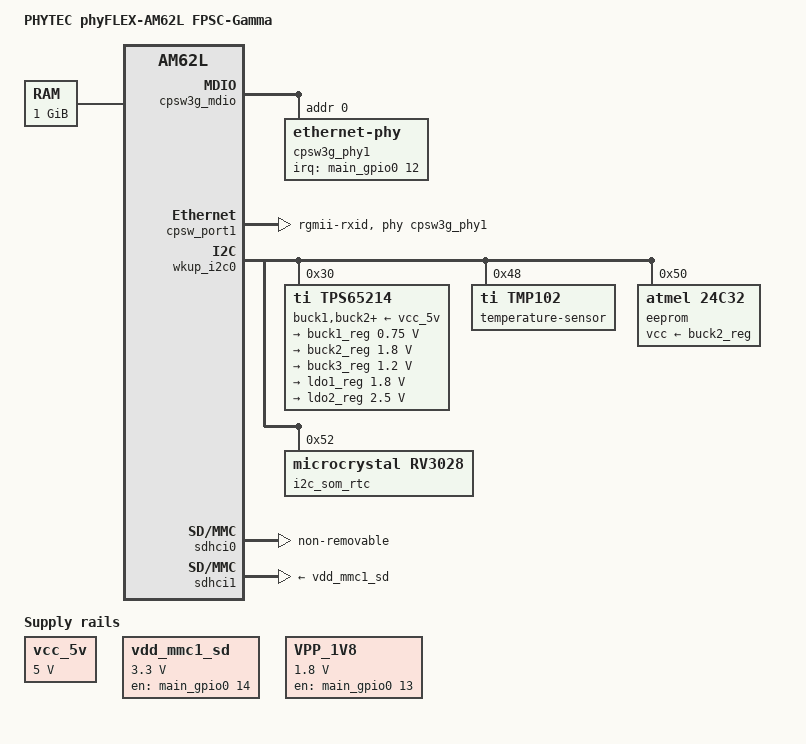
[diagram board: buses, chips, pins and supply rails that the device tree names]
// SPDX-License-Identifier: GPL-2.0-only OR MIT
/*
 * Copyright (C) 2025 PHYTEC Messtechnik GmbH
 * Author: Dominik Haller <d.haller@phytec.de>
 *
 * Product homepage:
 * https://www.phytec.eu/en/produkte/system-on-modules/phyflex-am62lx-fpsc/
 */

#include <dt-bindings/gpio/gpio.h>
#include <dt-bindings/net/ti-dp83867.h>

/ {
	model = "PHYTEC phyFLEX-AM62L FPSC-Gamma";
	compatible = "phytec,am62l-phyflex-fpsc-g", "ti,am62l3";

	aliases {
		ethernet0 = &cpsw_port1;
		i2c1 = &wkup_i2c0;
		mmc0 = &sdhci0;
		rtc0 = &i2c_som_rtc;
	};

	memory@80000000 {
		device_type = "memory";
		reg = <0x00000000 0x80000000 0x00000000 0x40000000>;
		bootph-all;
	};

	vcc_5v: regulator-vcc-5v {
		compatible = "regulator-fixed";
		regulator-name = "VCC_5V";
		regulator-min-microvolt = <5000000>;
		regulator-max-microvolt = <5000000>;
		regulator-always-on;
		regulator-boot-on;
	};

	vdd_mmc1_sd: regulator-vdd-mmc1-sd {
		/* Output of TPS22916 */
		compatible = "regulator-fixed";
		regulator-name = "VDD_MMC1_SD";
		pinctrl-names = "default";
		pinctrl-0 = <&vdd_mmc1_sd_pins_default>;
		enable-active-high;
		gpio = <&main_gpio0 14 GPIO_ACTIVE_HIGH>;
		regulator-min-microvolt = <3300000>;
		regulator-max-microvolt = <3300000>;
		regulator-boot-on;
		startup-delay-us = <100>;
		off-on-delay-us = <20000>;
		bootph-all;
	};

	regulator-vpp-1v8 {
		compatible = "regulator-fixed";
		regulator-name = "VPP_1V8";
		pinctrl-names = "default";
		pinctrl-0 = <&vpp_1v8_pins_default>;
		gpio = <&main_gpio0 13 GPIO_ACTIVE_HIGH>;
		enable-active-high;
		regulator-min-microvolt = <1800000>;
		regulator-max-microvolt = <1800000>;
	};
};

&pmx0 {
	main_mmc0_pins_default: main-mmc0-default-pins {
		pinctrl-single,pins = <
			AM62LX_IOPAD(0x0214, PIN_INPUT, 0) /* (D2) MMC0_CMD */
			AM62LX_IOPAD(0x020c, PIN_OUTPUT, 0) /* (B2) MMC0_CLK */
			AM62LX_IOPAD(0x0208, PIN_INPUT, 0) /* (D3) MMC0_DAT0 */
			AM62LX_IOPAD(0x0204, PIN_INPUT_PULLUP, 0) /* (D4) MMC0_DAT1 */
			AM62LX_IOPAD(0x0200, PIN_INPUT_PULLUP, 0) /* (C1) MMC0_DAT2 */
			AM62LX_IOPAD(0x01fc, PIN_INPUT_PULLUP, 0) /* (C2) MMC0_DAT3 */
			AM62LX_IOPAD(0x01f8, PIN_INPUT_PULLUP, 0) /* (C4) MMC0_DAT4 */
			AM62LX_IOPAD(0x01f4, PIN_INPUT_PULLUP, 0) /* (B3) MMC0_DAT5 */
			AM62LX_IOPAD(0x01f0, PIN_INPUT_PULLUP, 0) /* (A3) MMC0_DAT6 */
			AM62LX_IOPAD(0x01ec, PIN_INPUT_PULLUP, 0) /* (B4) MMC0_DAT7 */
		>;
		bootph-all;
	};

	main_sn65dsi83_pins_default: main-sn65dsi83-default-pins {
		pinctrl-single,pins = <
			AM62LX_IOPAD(0x0040, PIN_OUTPUT, 7) /* (E18) OSPI0_LBCLKO.GPIO0_1 */
		>;
	};

	mdio_pins_default: mdio1-default-pins {
		pinctrl-single,pins = <
			AM62LX_IOPAD(0x014c, PIN_OUTPUT, 0) /* (AC15) MDIO0_MDC */
			AM62LX_IOPAD(0x0148, PIN_INPUT, 0) /* (AC13) MDIO0_MDIO */
		>;
	};

	pmic_irq_pins_default: pmic-irq-default-pins {
		pinctrl-single,pins = <
			AM62LX_IOPAD(0x01e8, PIN_INPUT, 0) /* (C8) EXTINTn */
		>;
	};

	rgmii1_pins_default: rgmii1-default-pins {
		pinctrl-single,pins = <
			AM62LX_IOPAD(0x0138, PIN_INPUT, 0) /* (Y8) RGMII1_RD0 */
			AM62LX_IOPAD(0x013c, PIN_INPUT, 0) /* (AA6) RGMII1_RD1 */
			AM62LX_IOPAD(0x0140, PIN_INPUT, 0) /* (AA8) RGMII1_RD2 */
			AM62LX_IOPAD(0x0144, PIN_INPUT, 0) /* (W8) RGMII1_RD3 */
			AM62LX_IOPAD(0x0134, PIN_INPUT, 0) /* (Y7) RGMII1_RXC */
			AM62LX_IOPAD(0x0130, PIN_INPUT, 0) /* (Y6) RGMII1_RX_CTL */
			AM62LX_IOPAD(0x0120, PIN_OUTPUT, 0) /* (AC10) RGMII1_TD0 */
			AM62LX_IOPAD(0x0124, PIN_OUTPUT, 0) /* (W13) RGMII1_TD1 */
			AM62LX_IOPAD(0x0128, PIN_OUTPUT, 0) /* (Y11) RGMII1_TD2 */
			AM62LX_IOPAD(0x012c, PIN_OUTPUT, 0) /* (AA11) RGMII1_TD3 */
			AM62LX_IOPAD(0x011c, PIN_OUTPUT, 0) /* (W11) RGMII1_TXC */
			AM62LX_IOPAD(0x0118, PIN_OUTPUT, 0) /* (AB11) RGMII1_TX_CTL */
			AM62LX_IOPAD(0x006c, PIN_INPUT, 7) /* (D20) OSPI0_CSn1.GPIO0_12 */
		>;
	};

	vdd_mmc1_sd_pins_default: vdd-mmc1-default-pins {
		pinctrl-single,pins = <
			AM62LX_IOPAD(0x0074, PIN_OUTPUT, 7) /* (C23) OSPI0_CSn3.GPIO0_14 */
		>;
		bootph-all;
	};

	vpp_1v8_pins_default: vpp-1v8-pins-default {
		pinctrl-single,pins = <
			AM62LX_IOPAD(0x0070, PIN_OUTPUT, 7) /* (D18) OSPI0_CSN2.GPIO0_13 */
		>;
	};

	wkup_i2c0_pins_default: wkup-i2c0-default-pins {
		pinctrl-single,pins = <
			AM62LX_IOPAD(0x0010, PIN_INPUT, 0) /* (AB22) WKUP_I2C0_SCL */
			AM62LX_IOPAD(0x0014, PIN_INPUT, 0) /* (AA22) WKUP_I2C0_SDA */
		>;
		bootph-all;
	};
};

&cpsw3g {
	pinctrl-names = "default";
	pinctrl-0 = <&rgmii1_pins_default>;
};

&cpsw3g_mdio {
	pinctrl-names = "default";
	pinctrl-0 = <&mdio_pins_default>;
	status = "okay";

	cpsw3g_phy1: ethernet-phy@0 {
		reg = <0>;
		ti,clk-output-sel = <DP83867_CLK_O_SEL_OFF>;
		ti,fifo-depth = <DP83867_PHYCR_FIFO_DEPTH_4_B_NIB>;
		ti,rx-internal-delay = <DP83867_RGMIIDCTL_2_00_NS>;
		interrupt-parent = <&main_gpio0>;
		interrupts = <12 IRQ_TYPE_EDGE_FALLING>;
	};
};

&cpsw_port1 {
	phy-mode = "rgmii-rxid";
	phy-handle = <&cpsw3g_phy1>;
};

&main_gpio0 {
	status = "okay";
};

&wkup_i2c0 {
	pinctrl-names = "default";
	pinctrl-0 = <&wkup_i2c0_pins_default>;
	status = "okay";

	sn65dsi83: bridge@2d {
		compatible = "ti,sn65dsi83";
		reg = <0x2d>;
		pinctrl-names = "default";
		pinctrl-0 = <&main_sn65dsi83_pins_default>;
		enable-gpios = <&main_gpio0 1 GPIO_ACTIVE_HIGH>;
		vcc-supply = <&buck2_reg>;
		/* enabled in panel overlay */
		status = "disabled";
	};

	tps65214: pmic@30 {
		compatible = "ti,tps65214";
		reg = <0x30>;
		interrupt-parent = <&gic500>;
		interrupts = <GIC_SPI 224 IRQ_TYPE_LEVEL_HIGH>;
		pinctrl-0 = <&pmic_irq_pins_default>;
		buck1-supply = <&vcc_5v>;
		buck2-supply = <&vcc_5v>;
		buck3-supply = <&vcc_5v>;
		ldo1-supply = <&vcc_5v>;
		ldo2-supply = <&vcc_5v>;
		ti,power-button;

		regulators {
			buck1_reg: buck1 {
				regulator-name = "VDD_CORE";
				regulator-min-microvolt = <750000>;
				regulator-max-microvolt = <750000>;
				regulator-always-on;
				regulator-boot-on;
			};

			buck2_reg: buck2 {
				regulator-name = "VCC_1V8_SYS";
				regulator-min-microvolt = <1800000>;
				regulator-max-microvolt = <1800000>;
				regulator-always-on;
				regulator-boot-on;
			};

			buck3_reg: buck3 {
				regulator-name = "VDD_DDR4";
				regulator-min-microvolt = <1200000>;
				regulator-max-microvolt = <1200000>;
				regulator-always-on;
				regulator-boot-on;
			};

			ldo1_reg: ldo1 {
				regulator-name = "VDDA_1V8";
				regulator-min-microvolt = <1800000>;
				regulator-max-microvolt = <1800000>;
				regulator-always-on;
				regulator-boot-on;
			};

			ldo2_reg: ldo2 {
				regulator-name = "VDDA_2V5";
				regulator-min-microvolt = <2500000>;
				regulator-max-microvolt = <2500000>;
				regulator-always-on;
				regulator-boot-on;
			};
		};
	};

	temperature-sensor@48 {
		compatible = "ti,tmp102";
		reg = <0x48>;
	};

	eeprom@50 {
		compatible = "atmel,24c32";
		pagesize = <32>;
		reg = <0x50>;
		vcc-supply = <&buck2_reg>;
		bootph-all;
	};

	i2c_som_rtc: rtc@52 {
		compatible = "microcrystal,rv3028";
		reg = <0x52>;
	};
};

&sdhci0 {
	/* eMMC */
	non-removable;
	pinctrl-names = "default";
	pinctrl-0 = <&main_mmc0_pins_default>;
	bootph-all;
	status = "okay";
};

&sdhci1 {
	/* SD/MMC */
	vmmc-supply = <&vdd_mmc1_sd>;
};
